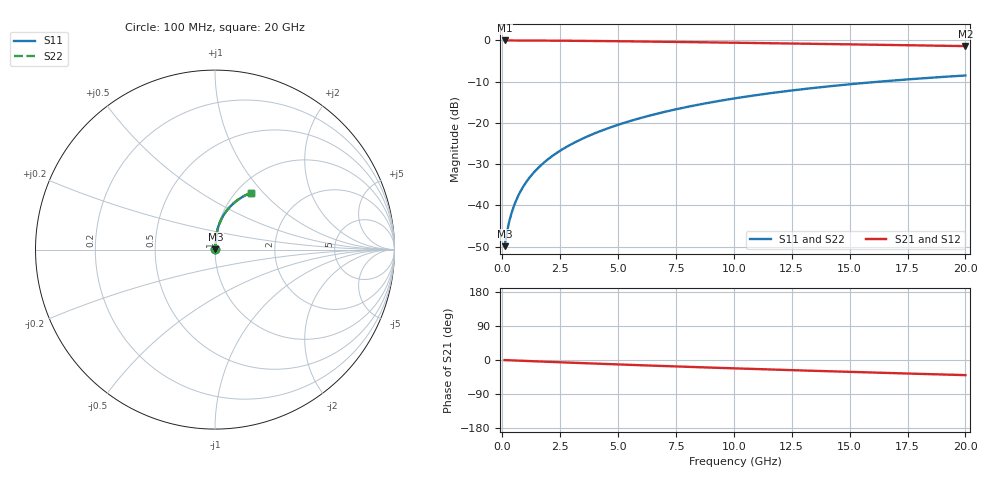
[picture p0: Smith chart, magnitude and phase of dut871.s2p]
! Touchstone file exported from HFSS 2024.1.0
!  File:  C:/UserFiles/LocalFiles/RDL_TSV_Batchsim/temp_RDL_bottom_871_1779865045.aedt
!  Generated:  03:00:03 PM May 27, 2026
!  Design:  RDL_bottom
!  Project:  temp_RDL_bottom_871_1779865045
!  Setup:  Setup1
!  Solution:  Sweep
! Variables:
!  dtsv = 10.80580581um
!  hbump = 3um
!  htsv = 70.59um
!  ldown = 543.65um
!  lrdl = 100um
!  p = 40
!  p1 = 55.28um
!  rhole = 1um
!  t = 450um
!  tdown = 3.64um
!  trdl = 3.915915916um
!  wdown = 22.93um
!  wrdl = 20um
# GHz S MA R 50.000000
! Terminal data exported
! Port[1] = RDL1_T1
! Port[2] = RDL1_T2
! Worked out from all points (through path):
!   200 points, 100 MHz to 20 GHz, reference 50 ohm
!   highest |S21| = -0.02 dB at 100 MHz (marker M1); lowest = -1.4 dB at 20 GHz (marker M2)
!   group delay of S21, straight-line fit = 5.49 ps
!   lowest |S11| = -49.9 dB at 100 MHz (marker M3), VSWR 1.01, Z = 50.3 + j0.199 ohm
!   |S11| at or under -10 dB: start of sweep to 16.31 GHz
!   |S22| runs from -49.9 to -8.5 dB; largest |S21 - S12| = 3.7e-15
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0.1  0.003196 38.4  0.9975 -0.3  0.9975 -0.3  0.003196 38.4
! Gamma 0 0 0 0
! Port Impedance 50 0 50 0
0.2  0.004703 56.0  0.9973 -0.5  0.9973 -0.5  0.004703 56.0
0.3  0.006369 64.3  0.9972 -0.7  0.9972 -0.7  0.006369 64.3
0.4  0.008065 69.2  0.997 -1.0  0.997 -1.0  0.008065 69.2
0.5  0.009777 72.4  0.9968 -1.2  0.9968 -1.2  0.009777 72.4
0.6  0.0115 74.8  0.9967 -1.5  0.9967 -1.5  0.0115 74.8
0.8  0.01499 78.0  0.9963 -2.0  0.9963 -2.0  0.01499 78.0
1.1  0.02031 80.8  0.9957 -2.7  0.9957 -2.7  0.02031 80.8
1.5  0.02752 82.8  0.9947 -3.6  0.9947 -3.6  0.02752 82.8
1.8  0.03299 83.7  0.9938 -4.3  0.9938 -4.3  0.03299 83.7
2.1  0.03851 84.2  0.9927 -5.1  0.9927 -5.1  0.03851 84.2
2.7  0.04973 84.8  0.9902 -6.5  0.9902 -6.5  0.04973 84.8
3.5  0.06502 84.9  0.986 -8.3  0.986 -8.3  0.06503 84.9
4.2  0.07872 84.5  0.9818 -9.9  0.9818 -9.9  0.07872 84.6
5  0.09468 83.9  0.9765 -11.7  0.9765 -11.7  0.09469 83.9
6.8  0.1315 81.6  0.9631 -15.6  0.9631 -15.6  0.1315 81.6
8.4  0.1646 78.9  0.9503 -18.8  0.9503 -18.8  0.1646 78.9
10.1  0.1994 75.8  0.9363 -22.2  0.9363 -22.2  0.1994 75.8
11.7  0.2313 72.8  0.9228 -25.3  0.9228 -25.3  0.2313 72.8
13.4  0.264 69.6  0.9084 -28.4  0.9084 -28.4  0.264 69.6
16.7  0.3229 63.4  0.8802 -34.3  0.8802 -34.3  0.323 63.4
20  0.3753 57.5  0.852 -39.9  0.852 -39.9  0.3753 57.6
